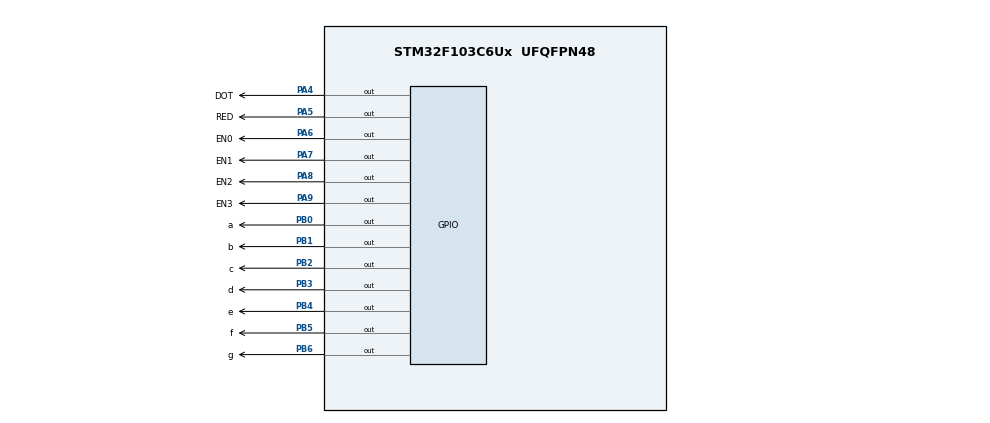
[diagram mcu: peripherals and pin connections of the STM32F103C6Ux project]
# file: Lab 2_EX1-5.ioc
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Mcu.Family=STM32F1
Mcu.Name=STM32F103C6Ux
Mcu.Package=UFQFPN48
NVIC.PriorityGroup=NVIC_PRIORITYGROUP_4
NVIC.TIM2_IRQn=true\:0\:0\:false\:false\:true\:true\:true
PA13.Mode=Serial_Wire
PA13.Signal=SYS_JTMS-SWDIO
PA14.Mode=Serial_Wire
PA14.Signal=SYS_JTCK-SWCLK
PA4.GPIO_Label=DOT
PA4.Signal=GPIO_Output
PA5.GPIO_Label=RED
PA5.Signal=GPIO_Output
PA6.GPIO_Label=EN0
PA6.Signal=GPIO_Output
PA7.GPIO_Label=EN1
PA7.Signal=GPIO_Output
PA8.GPIO_Label=EN2
PA8.Signal=GPIO_Output
PA9.GPIO_Label=EN3
PA9.Signal=GPIO_Output
PB0.GPIO_Label=a
PB0.Signal=GPIO_Output
PB1.GPIO_Label=b
PB1.Signal=GPIO_Output
PB2.GPIO_Label=c
PB2.Signal=GPIO_Output
PB3.GPIO_Label=d
PB3.Signal=GPIO_Output
PB4.GPIO_Label=e
PB4.Signal=GPIO_Output
PB5.GPIO_Label=f
PB5.Signal=GPIO_Output
PB6.GPIO_Label=g
PB6.Signal=GPIO_Output
ProjectManager.HeapSize=0x200
ProjectManager.StackSize=0x400
ProjectManager.TargetToolchain=STM32CubeIDE
RCC.APB1Freq_Value=8000000
RCC.APB2Freq_Value=8000000
TIM2.Period=9
TIM2.Prescaler=7999
VP_TIM2_VS_ClockSourceINT.Mode=Internal
board=custom

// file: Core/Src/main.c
/* USER CODE BEGIN Header */
/**
  ******************************************************************************
  * @file           : main.c
  * @brief          : Main program body
  ******************************************************************************
  * @attention
  *
  * <h2><center>&copy; Copyright (c) 2022 STMicroelectronics.
  * All rights reserved.</center></h2>
  *
  * This software component is licensed by ST under BSD 3-Clause license,
  * the "License"; You may not use this file except in compliance with the
  * License. You may obtain a copy of the License at:
  *                        opensource.org/licenses/BSD-3-Clause
  *
  ******************************************************************************
  */
/* USER CODE END Header */
#include "main.h"

/* USER CODE BEGIN PD */
#define ENABLE_0_ON 1	//hour
#define ENABLE_1_ON 2	//hour
#define ENABLE_2_ON 3	//minute
#define ENABLE_3_ON 0	//minute

#define HALF_A_SEC 50
#define QUARTER_A_SEC 25
#define A_SEC 100

#define HOUR 24
#define MINUTE 60
#define SECOND 60

#define RESET_COUNTER 0
#define DELAY 1000
/* USER CODE END PD */

TIM_HandleTypeDef htim2;

/* USER CODE BEGIN PV */
const int MAX_LED = 4;
int index_led = 0;
int led_buffer [4] = {1 , 2 , 3 , 4};

int hour = 15, minute = 8, second = 50;
int Hang_Chuc, Hang_Don_Vi;

int timer0_counter = 0;
int timer0_flag = 0;
int TIMER_CYCLE = 10;

int LED_buffer[10] = {0x40, 0x79, 0x24, 0x30, 0x19, 0x12, 0x02, 0x78, 0x00, 0x10};
/* USER CODE END PV */

void SystemClock_Config(void);
static void MX_GPIO_Init(void);
static void MX_TIM2_Init(void);
/* USER CODE BEGIN PFP */
void display7SEG(uint8_t num){
	HAL_GPIO_WritePin(a_GPIO_Port, a_Pin, ((LED_buffer[num] >> 0) & 0x01));
	HAL_GPIO_WritePin(b_GPIO_Port, b_Pin, ((LED_buffer[num] >> 1) & 0x01));
	HAL_GPIO_WritePin(c_GPIO_Port, c_Pin, ((LED_buffer[num] >> 2) & 0x01));
	HAL_GPIO_WritePin(d_GPIO_Port, d_Pin, ((LED_buffer[num] >> 3) & 0x01));
	HAL_GPIO_WritePin(e_GPIO_Port, e_Pin, ((LED_buffer[num] >> 4) & 0x01));
	HAL_GPIO_WritePin(f_GPIO_Port, f_Pin, ((LED_buffer[num] >> 5) & 0x01));
	HAL_GPIO_WritePin(g_GPIO_Port, g_Pin, ((LED_buffer[num] >> 6) & 0x01));
}

void which_7SEG(uint16_t *value){
    switch(*value){
	case ENABLE_0_ON:
		HAL_GPIO_WritePin(EN0_GPIO_Port, EN0_Pin, RESET);
		HAL_GPIO_WritePin(EN1_GPIO_Port, EN1_Pin, SET);
		HAL_GPIO_WritePin(EN2_GPIO_Port, EN2_Pin, SET);
		HAL_GPIO_WritePin(EN3_GPIO_Port, EN3_Pin, SET);
		display7SEG(ENABLE_0_ON);

		*value = ENABLE_1_ON;
		break;
	case ENABLE_1_ON:
		HAL_GPIO_WritePin(EN0_GPIO_Port, EN0_Pin, SET);
		HAL_GPIO_WritePin(EN1_GPIO_Port, EN1_Pin, RESET);
		HAL_GPIO_WritePin(EN2_GPIO_Port, EN2_Pin, SET);
		HAL_GPIO_WritePin(EN3_GPIO_Port, EN3_Pin, SET);
		display7SEG(ENABLE_1_ON);

		*value = ENABLE_2_ON;
		break;
	case ENABLE_2_ON:
		HAL_GPIO_WritePin(EN0_GPIO_Port, EN0_Pin, SET);
		HAL_GPIO_WritePin(EN1_GPIO_Port, EN1_Pin, SET);
		HAL_GPIO_WritePin(EN2_GPIO_Port, EN2_Pin, RESET);
		HAL_GPIO_WritePin(EN3_GPIO_Port, EN3_Pin, SET);
		display7SEG(ENABLE_2_ON);

		*value = ENABLE_3_ON;
		break;
	case ENABLE_3_ON:
		HAL_GPIO_WritePin(EN0_GPIO_Port, EN0_Pin, SET);
		HAL_GPIO_WritePin(EN1_GPIO_Port, EN1_Pin, SET);
		HAL_GPIO_WritePin(EN2_GPIO_Port, EN2_Pin, SET);
		HAL_GPIO_WritePin(EN3_GPIO_Port, EN3_Pin, RESET);
		display7SEG(ENABLE_3_ON);

		*value = ENABLE_0_ON;
		break;
	default:
		break;
    }
}

void update7SEG(int index){
    switch (index){
	case 0:
		// Display the first 7 SEG with led_buffer [0]
		HAL_GPIO_WritePin(EN0_GPIO_Port, EN0_Pin, RESET);
		HAL_GPIO_WritePin(EN1_GPIO_Port, EN1_Pin, SET);
		HAL_GPIO_WritePin(EN2_GPIO_Port, EN2_Pin, SET);
		HAL_GPIO_WritePin(EN3_GPIO_Port, EN3_Pin, SET);
		display7SEG(led_buffer[index]);

		break;
	case 1:
		// Display the second 7 SEG with led_buffer [1]
		HAL_GPIO_WritePin(EN0_GPIO_Port, EN0_Pin, SET);
		HAL_GPIO_WritePin(EN1_GPIO_Port, EN1_Pin, RESET);
		HAL_GPIO_WritePin(EN2_GPIO_Port, EN2_Pin, SET);
		HAL_GPIO_WritePin(EN3_GPIO_Port, EN3_Pin, SET);
		display7SEG(led_buffer[index]);

		break;
	case 2:
		// Display the third 7 SEG with led_buffer [2]
		HAL_GPIO_WritePin(EN0_GPIO_Port, EN0_Pin, SET);
		HAL_GPIO_WritePin(EN1_GPIO_Port, EN1_Pin, SET);
		HAL_GPIO_WritePin(EN2_GPIO_Port, EN2_Pin, RESET);
		HAL_GPIO_WritePin(EN3_GPIO_Port, EN3_Pin, SET);
		display7SEG(led_buffer[index]); //output 4

		break;
	case 3:
		// Display the forth 7 SEG with led_buffer [3]
		HAL_GPIO_WritePin(EN0_GPIO_Port, EN0_Pin, SET);
		HAL_GPIO_WritePin(EN1_GPIO_Port, EN1_Pin, SET);
		HAL_GPIO_WritePin(EN2_GPIO_Port, EN2_Pin, SET);
		HAL_GPIO_WritePin(EN3_GPIO_Port, EN3_Pin, RESET);
		display7SEG(led_buffer[index]);

		break;
	default:
		break;
    }
}

int Get_Chuc(int number){
    Hang_Chuc = ((number%100/10));

    return Hang_Chuc;
}

int Get_Don_vi(int number){
    Hang_Don_Vi = (number%10);

    return Hang_Don_Vi;
}

void updateClockBuffer(){
    int Hour_Chuc, Hour_Don_vi, Minute_Chuc, Minute_Don_vi;
    Hour_Chuc = Get_Chuc(hour);
    led_buffer[0] = Hour_Chuc;

    Hour_Don_vi = Get_Don_vi(hour);
    led_buffer[1] = Hour_Don_vi;

    Minute_Chuc = Get_Chuc(minute);
    led_buffer[2] = Minute_Chuc;

    Minute_Don_vi = Get_Don_vi(minute);
    led_buffer[3] = Minute_Don_vi;
}

void setTimer0(int duration){
    timer0_counter = duration / TIMER_CYCLE ;
    timer0_flag = 0;
}

void timer_run(){
    if(timer0_counter > 0){
        timer0_counter--;
        if(timer0_counter == 0) timer0_flag = 1;
    }
}

/* USER CODE END PFP */

int main(void)
{

  /* MCU Configuration--------------------------------------------------------*/

  /* Reset of all peripherals, Initializes the Flash interface and the Systick. */
  HAL_Init();

  /* Configure the system clock */
  SystemClock_Config();

  /* Initialize all configured peripherals */
  MX_GPIO_Init();
  MX_TIM2_Init();
  /* USER CODE BEGIN 2 */
    HAL_TIM_Base_Start_IT(&htim2);
  /* USER CODE END 2 */

  /* Infinite loop */
  /* USER CODE BEGIN WHILE */
    //setTimer0(1000);
    while (1)
    {
        second++;
        if(second >= SECOND){
            second = RESET_COUNTER;
            minute++;
        }

        if(minute >= MINUTE){
            minute = RESET_COUNTER;
            hour++;
        }

        if(hour >= HOUR){
            hour = RESET_COUNTER;
        }

        updateClockBuffer();
        HAL_Delay(DELAY);
        /*if(timer0_flag == 1){
            HAL_GPIO_TogglePin(RED_GPIO_Port, RED_Pin);
            setTimer0(2000);
        }*/
    /* USER CODE END WHILE */

    }
}

void SystemClock_Config(void)
{
  RCC_OscInitTypeDef RCC_OscInitStruct = {0};
  RCC_ClkInitTypeDef RCC_ClkInitStruct = {0};

  /** Initializes the RCC Oscillators according to the specified parameters
  * in the RCC_OscInitTypeDef structure.
  */
  RCC_OscInitStruct.OscillatorType = RCC_OSCILLATORTYPE_HSI;
  RCC_OscInitStruct.HSIState = RCC_HSI_ON;
  RCC_OscInitStruct.HSICalibrationValue = RCC_HSICALIBRATION_DEFAULT;
  RCC_OscInitStruct.PLL.PLLState = RCC_PLL_NONE;
  if (HAL_RCC_OscConfig(&RCC_OscInitStruct) != HAL_OK)
  {
    Error_Handler();
  }
  /** Initializes the CPU, AHB and APB buses clocks
  */
  RCC_ClkInitStruct.ClockType = RCC_CLOCKTYPE_HCLK|RCC_CLOCKTYPE_SYSCLK
                              |RCC_CLOCKTYPE_PCLK1|RCC_CLOCKTYPE_PCLK2;
  RCC_ClkInitStruct.SYSCLKSource = RCC_SYSCLKSOURCE_HSI;
  RCC_ClkInitStruct.AHBCLKDivider = RCC_SYSCLK_DIV1;
  RCC_ClkInitStruct.APB1CLKDivider = RCC_HCLK_DIV1;
  RCC_ClkInitStruct.APB2CLKDivider = RCC_HCLK_DIV1;

  if (HAL_RCC_ClockConfig(&RCC_ClkInitStruct, FLASH_LATENCY_0) != HAL_OK)
  {
    Error_Handler();
  }
}

static void MX_TIM2_Init(void)
{

  TIM_ClockConfigTypeDef sClockSourceConfig = {0};
  TIM_MasterConfigTypeDef sMasterConfig = {0};

  htim2.Instance = TIM2;
  htim2.Init.Prescaler = 7999;
  htim2.Init.CounterMode = TIM_COUNTERMODE_UP;
  htim2.Init.Period = 9;
  htim2.Init.ClockDivision = TIM_CLOCKDIVISION_DIV1;
  htim2.Init.AutoReloadPreload = TIM_AUTORELOAD_PRELOAD_DISABLE;
  if (HAL_TIM_Base_Init(&htim2) != HAL_OK)
  {
    Error_Handler();
  }
  sClockSourceConfig.ClockSource = TIM_CLOCKSOURCE_INTERNAL;
  if (HAL_TIM_ConfigClockSource(&htim2, &sClockSourceConfig) != HAL_OK)
  {
    Error_Handler();
  }
  sMasterConfig.MasterOutputTrigger = TIM_TRGO_RESET;
  sMasterConfig.MasterSlaveMode = TIM_MASTERSLAVEMODE_DISABLE;
  if (HAL_TIMEx_MasterConfigSynchronization(&htim2, &sMasterConfig) != HAL_OK)
  {
    Error_Handler();
  }

}

static void MX_GPIO_Init(void)
{
  GPIO_InitTypeDef GPIO_InitStruct = {0};

  /* GPIO Ports Clock Enable */
  __HAL_RCC_GPIOA_CLK_ENABLE();
  __HAL_RCC_GPIOB_CLK_ENABLE();

  /*Configure GPIO pin Output Level */
  HAL_GPIO_WritePin(GPIOA, DOT_Pin|RED_Pin|EN0_Pin|EN1_Pin
                          |EN2_Pin|EN3_Pin, GPIO_PIN_RESET);

  /*Configure GPIO pin Output Level */
  HAL_GPIO_WritePin(GPIOB, a_Pin|b_Pin|c_Pin|d_Pin
                          |e_Pin|f_Pin|g_Pin, GPIO_PIN_RESET);

  /*Configure GPIO pins : DOT_Pin RED_Pin EN0_Pin EN1_Pin
                           EN2_Pin EN3_Pin */
  GPIO_InitStruct.Pin = DOT_Pin|RED_Pin|EN0_Pin|EN1_Pin
                          |EN2_Pin|EN3_Pin;
  GPIO_InitStruct.Mode = GPIO_MODE_OUTPUT_PP;
  GPIO_InitStruct.Pull = GPIO_NOPULL;
  GPIO_InitStruct.Speed = GPIO_SPEED_FREQ_LOW;
  HAL_GPIO_Init(GPIOA, &GPIO_InitStruct);

  /*Configure GPIO pins : a_Pin b_Pin c_Pin d_Pin
                           e_Pin f_Pin g_Pin */
  GPIO_InitStruct.Pin = a_Pin|b_Pin|c_Pin|d_Pin
                          |e_Pin|f_Pin|g_Pin;
  GPIO_InitStruct.Mode = GPIO_MODE_OUTPUT_PP;
  GPIO_InitStruct.Pull = GPIO_NOPULL;
  GPIO_InitStruct.Speed = GPIO_SPEED_FREQ_LOW;
  HAL_GPIO_Init(GPIOB, &GPIO_InitStruct);

}

/* USER CODE BEGIN 4 */
static uint16_t Counter_7 = QUARTER_A_SEC;
static uint16_t Counter_LED = A_SEC;

static uint16_t enable = ENABLE_0_ON; //Bai 2

void HAL_TIM_PeriodElapsedCallback(TIM_HandleTypeDef *htim){
    Counter_7--;
    Counter_LED--;
    if(Counter_7 <= RESET_COUNTER){
        Counter_7 = QUARTER_A_SEC;
        which_7SEG(&enable);
        if(index_led < 0 || index_led > 3) index_led = 0;
        update7SEG(index_led++);
    }

    if(Counter_LED <= 0){
        Counter_LED = A_SEC;
        HAL_GPIO_TogglePin(DOT_GPIO_Port, DOT_Pin);
    }
}
/* USER CODE END 4 */

void Error_Handler(void)
{
    __disable_irq();
    while (1)
    {
    }
}

/************************ (C) COPYRIGHT STMicroelectronics *****END OF FILE****/
